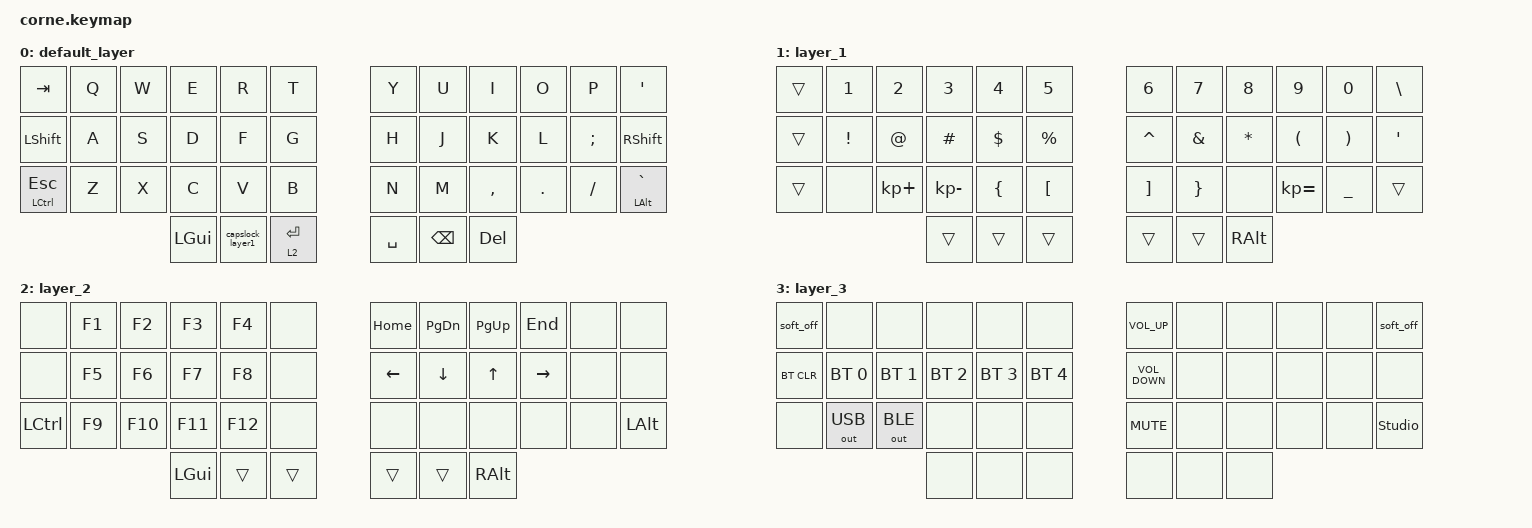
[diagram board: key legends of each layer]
/*
 * Copyright (c) 2020 The ZMK Contributors
 *
 * SPDX-License-Identifier: MIT
 */

#include <behaviors.dtsi>
#include <dt-bindings/zmk/bt.h>
#include <dt-bindings/zmk/keys.h>
#include <dt-bindings/zmk/outputs.h>

/ {
    behaviors {
        backspace_delete: backspace_delete {
            compatible = "zmk,behavior-mod-morph";
            label = "BACKSPACE_DELETE";
            bindings = <&kp BACKSPACE>, <&kp DELETE>;

            #binding-cells = <0>;
            mods = <(MOD_LSFT)>;
        };

        capslock_layer1: capslock_layer1 {
            compatible = "zmk,behavior-tap-dance";
            label = "CAPSLOCK_LAYER1";
            #binding-cells = <0>;
            tapping-term-ms = <500>;
            bindings = <&mo 1>, <&kp CAPSLOCK>;
        };
    };

    combos {
        compatible = "zmk,combos";

        mo_layer3 {
            bindings = <&mo 3>;
            key-positions = <37 38>;
        };

        layer-3-right {
            bindings = <&mo 3>;
            key-positions = <39 40>;
        };
    };

    keymap {
        compatible = "zmk,keymap";

        default_layer {
            // -----------------------------------------------------------------------------------------
            // |  TAB |  Q  |  W  |  E  |  R  |  T  |   |  Y  |  U   |  I  |  O  |  P  | BSPC |
            // | CTRL |  A  |  S  |  D  |  F  |  G  |   |  H  |  J   |  K  |  L  |  ;  |  '   |
            // | SHFT |  Z  |  X  |  C  |  V  |  B  |   |  N  |  M   |  ,  |  .  |  /  | ESC  |
            //                    | GUI | LWR | SPC |   | ENT | RSE  | ALT |

            bindings = <
&kp TAB           &kp Q  &kp W  &kp E     &kp R             &kp T          &kp Y      &kp U          &kp I       &kp O    &kp P          &kp SINGLE_QUOTE
&kp LEFT_SHIFT    &kp A  &kp S  &kp D     &kp F             &kp G          &kp H      &kp J          &kp K       &kp L    &kp SEMICOLON  &kp RIGHT_SHIFT
&mt LCTRL ESCAPE  &kp Z  &kp X  &kp C     &kp V             &kp B          &kp N      &kp M          &kp COMMA   &kp DOT  &kp FSLH       &mt LEFT_ALT GRAVE
                                &kp LGUI  &capslock_layer1  &lt 2 ENTER    &kp SPACE  &kp BACKSPACE  &kp DELETE
            >;
        };

        layer_1 {
            bindings = <
&trans  &kp NUMBER_1     &kp NUMBER_2  &kp NUMBER_3  &kp NUMBER_4    &kp N5              &kp NUMBER_6       &kp N7           &kp N8         &kp N9                &kp N0                 &kp BACKSLASH
&trans  &kp EXCLAMATION  &kp AT_SIGN   &kp POUND     &kp DOLLAR      &kp PERCENT         &kp CARET          &kp AMPERSAND    &kp ASTERISK   &kp LEFT_PARENTHESIS  &kp RIGHT_PARENTHESIS  &kp SINGLE_QUOTE
&trans  &none            &kp KP_PLUS   &kp KP_MINUS  &kp LEFT_BRACE  &kp LEFT_BRACKET    &kp RIGHT_BRACKET  &kp RIGHT_BRACE  &none          &kp KP_EQUAL          &kp UNDER              &trans
                                       &trans        &trans          &trans              &trans             &trans           &kp RIGHT_ALT
            >;
        };

        layer_2 {
            bindings = <
&none     &kp F1  &kp F2   &kp F3   &kp F4   &none     &kp HOME  &kp PAGE_DOWN  &kp PAGE_UP  &kp END    &none  &none
&none     &kp F5  &kp F6   &kp F7   &kp F8   &none     &kp LEFT  &kp DOWN       &kp UP       &kp RIGHT  &none  &none
&kp LCTRL &kp F9  &kp F10  &kp F11  &kp F12  &none     &none     &none          &none        &none      &none  &kp LEFT_ALT
                           &kp LGUI &trans   &trans    &trans    &trans         &kp RIGHT_ALT
            >;
        };

        layer_3 {
            bindings = <
&soft_off   &none         &none         &none         &none         &none           &kp C_VOLUME_UP    &none  &none  &none  &none  &soft_off
&bt BT_CLR  &bt BT_SEL 0  &bt BT_SEL 1  &bt BT_SEL 2  &bt BT_SEL 3  &bt BT_SEL 4    &kp C_VOLUME_DOWN  &none  &none  &none  &none  &none
&none       &out OUT_USB  &out OUT_BLE  &none         &none         &none           &kp K_MUTE         &none  &none  &none  &none  &studio_unlock
                                        &none         &none         &none           &none              &none  &none
            >;
        };

        extra1 {
            status = "reserved";
        };

        extra2 {
            status = "reserved";
        };
    };
};
